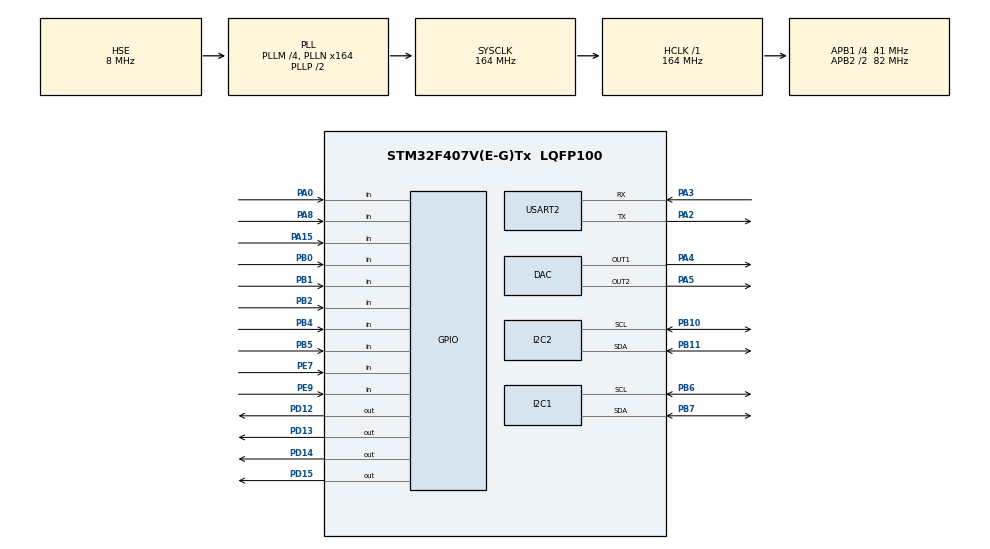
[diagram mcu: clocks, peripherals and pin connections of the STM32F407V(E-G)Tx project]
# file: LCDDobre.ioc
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Mcu.Family=STM32F4
Mcu.Name=STM32F407V(E-G)Tx
Mcu.Package=LQFP100
NVIC.I2C2_ER_IRQn=true\:0\:0\:false\:false\:true\:true
NVIC.I2C2_EV_IRQn=true\:0\:0\:false\:false\:true\:true
NVIC.PriorityGroup=NVIC_PRIORITYGROUP_4
NVIC.TIM4_IRQn=true\:0\:0\:false\:false\:true\:true
PA0-WKUP.GPIO_PuPd=GPIO_PULLDOWN
PA0-WKUP.Signal=GPIO_Input
PA15.GPIO_PuPd=GPIO_PULLDOWN
PA15.Signal=GPIO_Input
PA2.Mode=Asynchronous
PA2.Signal=USART2_TX
PA3.Mode=Asynchronous
PA3.Signal=USART2_RX
PA4.Signal=COMP_DAC1_group
PA5.Signal=COMP_DAC2_group
PA8.GPIO_PuPd=GPIO_PULLDOWN
PA8.Signal=GPIO_Input
PB0.GPIO_PuPd=GPIO_PULLDOWN
PB0.Signal=GPIO_Input
PB1.GPIO_PuPd=GPIO_PULLDOWN
PB1.Signal=GPIO_Input
PB10.Mode=I2C
PB10.Signal=I2C2_SCL
PB11.Mode=I2C
PB11.Signal=I2C2_SDA
PB2.GPIO_PuPd=GPIO_PULLDOWN
PB2.Signal=GPIO_Input
PB4.GPIO_PuPd=GPIO_PULLDOWN
PB4.Signal=GPIO_Input
PB5.GPIO_PuPd=GPIO_PULLDOWN
PB5.Signal=GPIO_Input
PB6.Mode=I2C
PB6.Signal=I2C1_SCL
PB7.Mode=I2C
PB7.Signal=I2C1_SDA
PD12.Signal=GPIO_Output
PD13.Signal=GPIO_Output
PD14.Signal=GPIO_Output
PD15.Signal=GPIO_Output
PE7.GPIO_PuPd=GPIO_PULLDOWN
PE7.Signal=GPIO_Input
PE9.GPIO_PuPd=GPIO_PULLDOWN
PE9.Signal=GPIO_Input
PH0-OSC_IN.Mode=HSE-External-Oscillator
PH0-OSC_IN.Signal=RCC_OSC_IN
PH1-OSC_OUT.Mode=HSE-External-Oscillator
PH1-OSC_OUT.Signal=RCC_OSC_OUT
ProjectManager.HeapSize=0x200
ProjectManager.StackSize=0x400
ProjectManager.TargetToolchain=SW4STM32
RCC.48MHZClocksFreq_Value=82000000
RCC.AHBFreq_Value=164000000
RCC.APB1CLKDivider=RCC_HCLK_DIV4
RCC.APB1Freq_Value=41000000
RCC.APB1TimFreq_Value=82000000
RCC.APB2CLKDivider=RCC_HCLK_DIV2
RCC.APB2Freq_Value=82000000
RCC.APB2TimFreq_Value=164000000
RCC.CortexFreq_Value=164000000
RCC.HCLKFreq_Value=164000000
RCC.HSE_VALUE=8000000
RCC.HSI_VALUE=16000000
RCC.LSE_VALUE=32768
RCC.PLLM=4
RCC.PLLN=164
RCC.PLLSourceVirtual=RCC_PLLSOURCE_HSE
RCC.SYSCLKFreq_VALUE=164000000
RCC.SYSCLKSource=RCC_SYSCLKSOURCE_PLLCLK
RCC.VCOOutputFreq_Value=328000000
SH.COMP_DAC1_group.0=DAC_OUT1,DAC_OUT1
SH.COMP_DAC2_group.0=DAC_OUT2,DAC_OUT2
TIM4.Period=59
TIM4.Prescaler=83
USART2.VirtualMode=VM_ASYNC
VP_TIM4_VS_ClockSourceINT.Mode=Internal
board=custom

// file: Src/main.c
/* USER CODE BEGIN Header */
/**
  ******************************************************************************
  * @file           : main.c
  * @brief          : Main program body
  ******************************************************************************
  ** This notice applies to any and all portions of this file
  * that are not between comment pairs USER CODE BEGIN and
  * USER CODE END. Other portions of this file, whether
  * inserted by the user or by software development tools
  * are owned by their respective copyright owners.
  *
  * COPYRIGHT(c) 2019 STMicroelectronics
  *
  * Redistribution and use in source and binary forms, with or without modification,
  * are permitted provided that the following conditions are met:
  *   1. Redistributions of source code must retain the above copyright notice,
  *      this list of conditions and the following disclaimer.
  *   2. Redistributions in binary form must reproduce the above copyright notice,
  *      this list of conditions and the following disclaimer in the documentation
  *      and/or other materials provided with the distribution.
  *   3. Neither the name of STMicroelectronics nor the names of its contributors
  *      may be used to endorse or promote products derived from this software
  *      without specific prior written permission.
  *
  * THIS SOFTWARE IS PROVIDED BY THE COPYRIGHT HOLDERS AND CONTRIBUTORS "AS IS"
  * AND ANY EXPRESS OR IMPLIED WARRANTIES, INCLUDING, BUT NOT LIMITED TO, THE
  * IMPLIED WARRANTIES OF MERCHANTABILITY AND FITNESS FOR A PARTICULAR PURPOSE ARE
  * DISCLAIMED. IN NO EVENT SHALL THE COPYRIGHT HOLDER OR CONTRIBUTORS BE LIABLE
  * FOR ANY DIRECT, INDIRECT, INCIDENTAL, SPECIAL, EXEMPLARY, OR CONSEQUENTIAL
  * DAMAGES (INCLUDING, BUT NOT LIMITED TO, PROCUREMENT OF SUBSTITUTE GOODS OR
  * SERVICES; LOSS OF USE, DATA, OR PROFITS; OR BUSINESS INTERRUPTION) HOWEVER
  * CAUSED AND ON ANY THEORY OF LIABILITY, WHETHER IN CONTRACT, STRICT LIABILITY,
  * OR TORT (INCLUDING NEGLIGENCE OR OTHERWISE) ARISING IN ANY WAY OUT OF THE USE
  * OF THIS SOFTWARE, EVEN IF ADVISED OF THE POSSIBILITY OF SUCH DAMAGE.
  *
  ******************************************************************************
  */
/* USER CODE END Header */

#include "main.h"

/* USER CODE BEGIN Includes */
#include "stm32f4xx_hal.h"
#include "ds3231.h"
#include "i2c-lcd.h"
/* USER CODE END Includes */

DAC_HandleTypeDef hdac;

I2C_HandleTypeDef hi2c1;
I2C_HandleTypeDef hi2c2;

TIM_HandleTypeDef htim4;

UART_HandleTypeDef huart2;

/* USER CODE BEGIN PV */
/* Private variables ---------------------------------------------------------*/

/* USER CODE END PV */

void SystemClock_Config(void);
static void MX_GPIO_Init(void);
static void MX_I2C1_Init(void);
static void MX_I2C2_Init(void);
static void MX_USART2_UART_Init(void);
static void MX_DAC_Init(void);
static void MX_TIM4_Init(void);
/* USER CODE BEGIN PFP */
/* Private function prototypes -----------------------------------------------*/

void HAL_GPIO_EXTI_Callback(uint16_t GPIO_Pin)
{

	HAL_GPIO_ReadPin(GPIOA, GPIO_PIN_0) == GPIO_PIN_SET;

	HAL_GPIO_WritePin(GPIOD,GPIO_PIN_12,SET);
   	  lcd_clear();
   	  int number=5;
   	  lcd_send_cmd(0x80);
   	  lcd_send_integer(number,2);
}

/* USER CODE END PFP */

int main(void)
{
  /* USER CODE BEGIN 1 */
	uint8_t str1[]="USART Transmit\r\n";
  /* USER CODE END 1 */

  /* MCU Configuration--------------------------------------------------------*/

  /* Reset of all peripherals, Initializes the Flash interface and the Systick. */
  HAL_Init();

  /* Configure the system clock */
  SystemClock_Config();

  /* Initialize all configured peripherals */
  MX_GPIO_Init();
  MX_I2C1_Init();
  MX_I2C2_Init();
  MX_USART2_UART_Init();
  MX_DAC_Init();
  MX_TIM4_Init();
  /* USER CODE BEGIN 2 */

  int trzy=5;
  int minuty=0;
   int dziala=0;
   int prescaler=83;
   volatile int realgodziny=0;
   volatile int realminuty=0;
   int flaga=0;
   int clearc=0;
   volatile int dupa=0;
   volatile int alarmhour=0;
   volatile int alarm_sound=1;

   volatile int date_day=1, date_month=1, date_year=0;
   volatile int alarmin=0;
  //day -> dzien tygodnia od 1-7, date -> dzien miesiaca
  day= 5, date = 30, month = 5, year = 19;
  DS3231_setDate(day, date, month, year);

  hour = 19, minute = 17, seconds = 10;
  DS3231_setTime(hour, minute, seconds);
  //hour = 0, minute = 1, seconds = 0;
  //DS3231_setTime(hour, minute, seconds);

  //hour = 21, minute = 44, seconds = 0;
  //DS3231_setAlarm_e(hour, minute, seconds);

  //HAL_UART_Transmit(&huart2,str1,16,0xFFFF);
  HAL_GPIO_WritePin(GPIOD, GPIO_PIN_13, 1);
  /* USER CODE END 2 */

  /* Infinite loop */
  /* USER CODE BEGIN WHILE */
  while (1)
  {
	 getTimeAndDate();
	 switch(flaga)
	 {

	 case 0:

		 	 	 HAL_GPIO_WritePin(GPIOD,GPIO_PIN_12,GPIO_PIN_RESET);
	 		 	 if(clearc==2)
	 		 	 {
	 		 		 lcd_clear();
	 		 	 }

	 		 	 clearc=1;
	 		 	 if(DS3231_Time.hours<10)
	 		 	 {
	 	 		 	 lcd_send_cmd (0x80);  // goto 1,1
	 	 		 	 lcd_send_integer(0,1);
	 	 		 	 lcd_send_cmd(0x81);
	 	 			 lcd_send_integer(DS3231_Time.hours,1);
	 		 	 }
	 		 	 if(DS3231_Time.hours>=10)
	 		 	 {
	 		 	 		 lcd_send_cmd (0x80);  // goto 1,1

	 		 	 		 lcd_send_integer(DS3231_Time.hours,2);
	 		 	 }

	 	 		lcd_send_cmd (0x82);
	 	 		lcd_send_string(":");

	 	 		if(DS3231_Time.minutes<10)
	 	 		{
	 	 			lcd_send_cmd (0x83);  // goto 1,1
	 	 			lcd_send_integer(0,1);
	 	 			lcd_send_cmd(0x84);
	 	 			lcd_send_integer(DS3231_Time.minutes,1);
	 	 		}

	 	 		if(DS3231_Time.minutes>=10)
	 	 		{
	 	 			lcd_send_cmd (0x83);  // goto 1,1
	 	 		    lcd_send_integer(DS3231_Time.minutes,2);
	 	 		}

	 	 		lcd_send_cmd (0x85);
	 	 		lcd_send_string(":");

	 	 		if(DS3231_Time.seconds<10)
	 	 		{
	 	 			lcd_send_cmd (0x86);
	 	 			lcd_send_integer(0,1);
	 	 			lcd_send_cmd(0x87);
	 	 			lcd_send_integer(DS3231_Time.seconds,1);
	 	 		}

	 	 		if(DS3231_Time.seconds>=10)
	 	 		{
	 	 				lcd_send_cmd (0x86);
	 	 				lcd_send_integer(DS3231_Time.seconds,2);
	 	 		}

	 	 		//////date////
	 	 		if(DS3231_Time.date<10)
	 	 		{
	 	 			lcd_send_cmd(0xc0);
	 	 			lcd_send_integer(0,1);
	 	 			lcd_send_cmd(0xc1);
	 	 			lcd_send_integer(DS3231_Time.date,1);
	 	 		}
	 	 		if(DS3231_Time.date>=10)
	 	 		{
	 	 			lcd_send_cmd(0xc0);
	 	 			lcd_send_integer(DS3231_Time.date,2);
	 	 		}
	 	 		lcd_send_cmd(0xc2);
	 	 		lcd_send_string(".");

	 	 		if(DS3231_Time.month<10)
	 	 		{
	 	 			lcd_send_cmd(0xc3);
	 	 			lcd_send_integer(0,1);
	 	 			lcd_send_cmd(0xc4);
	 	 			lcd_send_integer(DS3231_Time.month,1);
	 	 		}
	 	 		if(DS3231_Time.month>=10)
	 	 		{
	 	 			lcd_send_cmd(0xc3);
	 	 			lcd_send_integer(DS3231_Time.month,2);
	 	 		}

	 	 		lcd_send_cmd(0xc5);
	 	 		lcd_send_string(".");
	 	 		if(DS3231_Time.year<10)
	 	 		{
	 	 			 	lcd_send_cmd(0xc6);
	 	 			 	lcd_send_integer(0,1);
	 	 			 	lcd_send_cmd(0xc7);
	 	 			 	lcd_send_integer(DS3231_Time.year,1);
	 	 		}
	 	 		if(DS3231_Time.year>=10)
	 	 		{
	 	 			 	lcd_send_cmd(0xc6);
	 	 			 	lcd_send_integer(DS3231_Time.year,2);
	 	 		}

	 	 		// clearc=1;
	 	 		HAL_Delay(1000);
	 	  break;
	 	 case 1:
	 	 {
	 		HAL_GPIO_WritePin(GPIOD,GPIO_PIN_12,GPIO_PIN_SET);
	 		if(clearc==1)
	 		{
	 			lcd_clear();
	 		}
	 		clearc=2;

	 		lcd_send_cmd (0x80);
	 		lcd_send_string("Ustawianie czasu");
	 		if(realgodziny<10)
	 		{
	 			lcd_send_cmd(0xc0);
	 			lcd_send_integer(0,1);
	 			lcd_send_cmd(0xc1);
	 			lcd_send_integer(realgodziny,1);
	 		}
	 		if(realgodziny>=10)
	 		{
	 			lcd_send_cmd(0xc0);
	 			lcd_send_integer(realgodziny,2);
	 		}

	 		lcd_send_cmd (0xc2);
	 		lcd_send_string(":");
	 		if(dupa<10)
	 		{
	 			lcd_send_cmd(0xc3);
	 			lcd_send_integer(0,1);
	 			lcd_send_cmd(0xc4);
	 			lcd_send_integer(dupa,1);
	 		}
	 		if(dupa>=10)
	 		{
	 			lcd_send_cmd(0xc3);
	 			lcd_send_integer(dupa,2);
	 		}

	 		HAL_Delay(1000);

	 		if(HAL_GPIO_ReadPin(GPIOB, GPIO_PIN_2) == 1)
	 		{
	 				flaga=0;
	 		}
	 		if(HAL_GPIO_ReadPin(GPIOE, GPIO_PIN_9) == 1)
	 		{
	 			 	flaga=3;
	 		}
	 		if(HAL_GPIO_ReadPin(GPIOB, GPIO_PIN_4) == 1)
	 		{
	 				realgodziny++;
	 		}
	 		if(HAL_GPIO_ReadPin(GPIOA, GPIO_PIN_15) == 1)
	 		{
	 				dupa++;
	 		}
	 		if(realgodziny==24)
	 		{
	 				lcd_clear();
	 				realgodziny=0;
	 		}
	 		if(dupa==60)
	 		{
	 				lcd_clear();
	 				dupa=0;
	 		}
	 		if(HAL_GPIO_ReadPin(GPIOA, GPIO_PIN_8) == 1)
	 		{
	 				 DS3231_setTime(realgodziny, dupa, 0);
	 				 realgodziny=0;
	 				 dupa=0;
	 				 flaga=0;
	 		}
	 		break;

	 	 }
	 	case 2:
	 	{
	 			 if(clearc==1)
	 			 {
	 				lcd_clear();
	 			 }
	 			clearc=2;

	 			lcd_send_cmd (0x80);
	 			lcd_send_string(" Budzik");
	 			if(alarmhour<10)
	 			{
	 				lcd_send_cmd(0xc0);
	 				lcd_send_integer(0,1);
	 				lcd_send_cmd(0xc1);
	 				lcd_send_integer(alarmhour,1);
	 			}
	 			if(alarmhour>=10)
	 			{
	 				lcd_send_cmd(0xc0);
	 				lcd_send_integer(alarmhour,2);
	 			}

	 			lcd_send_cmd (0xc2);
	 			lcd_send_string(":");
	 			if(alarmin<10)
	 			{
	 				lcd_send_cmd(0xc3);
	 				lcd_send_integer(0,1);
	 				lcd_send_cmd(0xc4);
	 				lcd_send_integer(alarmin,1);
	 			}
	 			if(alarmin>=10)
	 			{
	 				lcd_send_cmd(0xc3);
	 				lcd_send_integer(alarmin,2);
	 			}

	 			lcd_send_cmd (0xc5);
	 			lcd_send_string("m");
	 			lcd_send_cmd (0xc6);
	 			lcd_send_string("u");
	 			lcd_send_cmd (0xc7);
	 			lcd_send_string("z");
	 			lcd_send_cmd (0xc8);
	 			lcd_send_string(":");
	 			lcd_send_cmd (0xc9);
	 			lcd_send_integer(alarm_sound,1);

	 			HAL_Delay(1000);

	 			if(HAL_GPIO_ReadPin(GPIOB, GPIO_PIN_4) == 1)
	 			{
	 				alarmhour++;
	 				if(alarmhour>23)//dodalem do zerowania
	 					alarmhour=0;//dodalem do zerowania
	 			}
	 			if(HAL_GPIO_ReadPin(GPIOA, GPIO_PIN_15) == 1)
	 			{
	 				alarmin++;
	 				if(alarmin>59)//dodalem do zerowania
	 					alarmin=0;//dodalem do zerowania
	 			}
	 			if(HAL_GPIO_ReadPin(GPIOE, GPIO_PIN_7) == 1)
	 			{
	 				 alarm_sound++;
	 				 if(alarm_sound>3)
	 					 alarm_sound=1;
	 			}

	 			if(HAL_GPIO_ReadPin(GPIOA, GPIO_PIN_8) == 1)
	 			{
	 				DS3231_setAlarm_e(alarmhour, alarmin, 0, alarm_sound);
	 				flaga=0;
	 			}

	 			if(HAL_GPIO_ReadPin(GPIOB, GPIO_PIN_2) == 1)
	 			{
	 				flaga=0;
	 			}

	 			if(HAL_GPIO_ReadPin(GPIOE, GPIO_PIN_9) == 1)
	 			{
	 				lcd_clear();
	 				 flaga=3;
	 			}
	 			break;

	 }
	 //ustawianie daty
	 	case 3: //gpio e9
	 	{
	 		 			 if(clearc==1)
	 		 			 {
	 		 				lcd_clear();
	 		 			 }
	 		 			clearc=2;

	 		 			lcd_send_cmd (0x80);
	 		 			lcd_send_string(" Ustawianie daty");
	 		 			if(date_day<10)
	 		 			{
	 		 				lcd_send_cmd(0xc0);
	 		 				lcd_send_integer(0,1);
	 		 				lcd_send_cmd(0xc1);
	 		 				lcd_send_integer(date_day,1);
	 		 			}
	 		 			if(date_day>=10)
	 		 			{
	 		 				lcd_send_cmd(0xc0);
	 		 				lcd_send_integer(date_day,2);
	 		 			}

	 		 			lcd_send_cmd (0xc2);
	 		 			lcd_send_string(".");
	 		 			if(date_month<10)
	 		 			{
	 		 				lcd_send_cmd(0xc3);
	 		 				lcd_send_integer(0,1);
	 		 				lcd_send_cmd(0xc4);
	 		 				lcd_send_integer(date_month,1);
	 		 			}
	 		 			if(date_month>=10)
	 		 			{
	 		 				lcd_send_cmd(0xc3);
	 		 				lcd_send_integer(date_month,2);
	 		 			}
	 		 			lcd_send_cmd (0xc5);
	 		 			lcd_send_string(".");
	 		 			if(date_year<10)
	 		 			{
	 		 				lcd_send_cmd(0xc6);
	 		 				lcd_send_integer(0,1);
	 		 				lcd_send_cmd(0xc7);
	 		 				lcd_send_integer(date_year,1);
	 		 			}
	 		 			if(date_year>=10)
	 		 			{
	 		 				lcd_send_cmd(0xc6);
	 		 				lcd_send_integer(date_year,2);
	 		 			}

	 		 			HAL_Delay(1000);

	 		 			if(HAL_GPIO_ReadPin(GPIOB, GPIO_PIN_4) == 1)
	 		 			{
	 		 				date_day++;
	 		 				if(date_day>31)//dodalem do zerowania
	 		 					date_day=1;//dodalem do zerowania
	 		 			}
	 		 			if(HAL_GPIO_ReadPin(GPIOA, GPIO_PIN_15) == 1)
	 		 			{
	 		 				date_month++;
	 		 				if(date_month>12)//dodalem do zerowania
	 		 					date_month=1;//dodalem do zerowania
	 		 			}
	 		 			if(HAL_GPIO_ReadPin(GPIOE, GPIO_PIN_7) == 1)
	 		 			{
	 		 				 date_year++;
	 		 				 if(date_year>99)
	 		 					 date_year=0;
	 		 			}

	 		 			if(HAL_GPIO_ReadPin(GPIOA, GPIO_PIN_8) == 1)
	 		 			{
	 		 				DS3231_setDate(2,date_day, date_month, date_year);
	 		 				flaga=0;
	 		 			}

	 		 			if(HAL_GPIO_ReadPin(GPIOB, GPIO_PIN_2) == 1)
	 		 			{
	 		 				flaga=0;
	 		 			}

	 		 			break;

	 	}

	 }

	 if(HAL_GPIO_ReadPin(GPIOB, GPIO_PIN_5) == 1)
	 {
		 	 realgodziny=DS3231_Time.hours;
		 	 dupa=DS3231_Time.minutes;
		 	 lcd_clear();
			 flaga=1;
	 }

	 if(HAL_GPIO_ReadPin(GPIOB, GPIO_PIN_1) == 1)
	 {
		 	alarmhour=DS3231_Time.hours; //zeby dlugo nie ustawiac alarmu
		 	alarmin=DS3231_Time.minutes;//zeby dlugo nie ustawiac alarmu
		 	lcd_clear();
	 		flaga=2;
	 }

    /* USER CODE END WHILE */

  }
}

void SystemClock_Config(void)
{
  RCC_OscInitTypeDef RCC_OscInitStruct = {0};
  RCC_ClkInitTypeDef RCC_ClkInitStruct = {0};

  /**Configure the main internal regulator output voltage
  */
  __HAL_RCC_PWR_CLK_ENABLE();
  __HAL_PWR_VOLTAGESCALING_CONFIG(PWR_REGULATOR_VOLTAGE_SCALE1);
  /**Initializes the CPU, AHB and APB busses clocks
  */
  RCC_OscInitStruct.OscillatorType = RCC_OSCILLATORTYPE_HSE;
  RCC_OscInitStruct.HSEState = RCC_HSE_ON;
  RCC_OscInitStruct.PLL.PLLState = RCC_PLL_ON;
  RCC_OscInitStruct.PLL.PLLSource = RCC_PLLSOURCE_HSE;
  RCC_OscInitStruct.PLL.PLLM = 4;
  RCC_OscInitStruct.PLL.PLLN = 164;
  RCC_OscInitStruct.PLL.PLLP = RCC_PLLP_DIV2;
  RCC_OscInitStruct.PLL.PLLQ = 4;
  if (HAL_RCC_OscConfig(&RCC_OscInitStruct) != HAL_OK)
  {
    Error_Handler();
  }
  /**Initializes the CPU, AHB and APB busses clocks
  */
  RCC_ClkInitStruct.ClockType = RCC_CLOCKTYPE_HCLK|RCC_CLOCKTYPE_SYSCLK
                              |RCC_CLOCKTYPE_PCLK1|RCC_CLOCKTYPE_PCLK2;
  RCC_ClkInitStruct.SYSCLKSource = RCC_SYSCLKSOURCE_PLLCLK;
  RCC_ClkInitStruct.AHBCLKDivider = RCC_SYSCLK_DIV1;
  RCC_ClkInitStruct.APB1CLKDivider = RCC_HCLK_DIV4;
  RCC_ClkInitStruct.APB2CLKDivider = RCC_HCLK_DIV2;

  if (HAL_RCC_ClockConfig(&RCC_ClkInitStruct, FLASH_LATENCY_5) != HAL_OK)
  {
    Error_Handler();
  }
}

static void MX_DAC_Init(void)
{

  DAC_ChannelConfTypeDef sConfig = {0};

  /**DAC Initialization
  */
  hdac.Instance = DAC;
  if (HAL_DAC_Init(&hdac) != HAL_OK)
  {
    Error_Handler();
  }
  /**DAC channel OUT1 config
  */
  sConfig.DAC_Trigger = DAC_TRIGGER_NONE;
  sConfig.DAC_OutputBuffer = DAC_OUTPUTBUFFER_ENABLE;
  if (HAL_DAC_ConfigChannel(&hdac, &sConfig, DAC_CHANNEL_1) != HAL_OK)
  {
    Error_Handler();
  }
  /**DAC channel OUT2 config
  */
  if (HAL_DAC_ConfigChannel(&hdac, &sConfig, DAC_CHANNEL_2) != HAL_OK)
  {
    Error_Handler();
  }

}

static void MX_I2C1_Init(void)
{

  hi2c1.Instance = I2C1;
  hi2c1.Init.ClockSpeed = 100000;
  hi2c1.Init.DutyCycle = I2C_DUTYCYCLE_2;
  hi2c1.Init.OwnAddress1 = 0;
  hi2c1.Init.AddressingMode = I2C_ADDRESSINGMODE_7BIT;
  hi2c1.Init.DualAddressMode = I2C_DUALADDRESS_DISABLE;
  hi2c1.Init.OwnAddress2 = 0;
  hi2c1.Init.GeneralCallMode = I2C_GENERALCALL_DISABLE;
  hi2c1.Init.NoStretchMode = I2C_NOSTRETCH_DISABLE;
  if (HAL_I2C_Init(&hi2c1) != HAL_OK)
  {
    Error_Handler();
  }

}

static void MX_I2C2_Init(void)
{

  hi2c2.Instance = I2C2;
  hi2c2.Init.ClockSpeed = 100000;
  hi2c2.Init.DutyCycle = I2C_DUTYCYCLE_2;
  hi2c2.Init.OwnAddress1 = 0;
  hi2c2.Init.AddressingMode = I2C_ADDRESSINGMODE_7BIT;
  hi2c2.Init.DualAddressMode = I2C_DUALADDRESS_DISABLE;
  hi2c2.Init.OwnAddress2 = 0;
  hi2c2.Init.GeneralCallMode = I2C_GENERALCALL_DISABLE;
  hi2c2.Init.NoStretchMode = I2C_NOSTRETCH_DISABLE;
  if (HAL_I2C_Init(&hi2c2) != HAL_OK)
  {
    Error_Handler();
  }

}

static void MX_TIM4_Init(void)
{

  TIM_ClockConfigTypeDef sClockSourceConfig = {0};
  TIM_MasterConfigTypeDef sMasterConfig = {0};

  htim4.Instance = TIM4;
  htim4.Init.Prescaler = 45;
  htim4.Init.CounterMode = TIM_COUNTERMODE_UP;
  htim4.Init.Period = 59;
  htim4.Init.ClockDivision = TIM_CLOCKDIVISION_DIV1;
  if (HAL_TIM_Base_Init(&htim4) != HAL_OK)
  {
    Error_Handler();
  }
  sClockSourceConfig.ClockSource = TIM_CLOCKSOURCE_INTERNAL;
  if (HAL_TIM_ConfigClockSource(&htim4, &sClockSourceConfig) != HAL_OK)
  {
    Error_Handler();
  }
  sMasterConfig.MasterOutputTrigger = TIM_TRGO_RESET;
  sMasterConfig.MasterSlaveMode = TIM_MASTERSLAVEMODE_DISABLE;
  if (HAL_TIMEx_MasterConfigSynchronization(&htim4, &sMasterConfig) != HAL_OK)
  {
    Error_Handler();
  }

}

static void MX_USART2_UART_Init(void)
{

  huart2.Instance = USART2;
  huart2.Init.BaudRate = 115200;
  huart2.Init.WordLength = UART_WORDLENGTH_8B;
  huart2.Init.StopBits = UART_STOPBITS_1;
  huart2.Init.Parity = UART_PARITY_NONE;
  huart2.Init.Mode = UART_MODE_TX_RX;
  huart2.Init.HwFlowCtl = UART_HWCONTROL_NONE;
  huart2.Init.OverSampling = UART_OVERSAMPLING_16;
  if (HAL_UART_Init(&huart2) != HAL_OK)
  {
    Error_Handler();
  }

}

static void MX_GPIO_Init(void)
{
  GPIO_InitTypeDef GPIO_InitStruct = {0};

  /* GPIO Ports Clock Enable */
  __HAL_RCC_GPIOH_CLK_ENABLE();
  __HAL_RCC_GPIOA_CLK_ENABLE();
  __HAL_RCC_GPIOB_CLK_ENABLE();
  __HAL_RCC_GPIOE_CLK_ENABLE();
  __HAL_RCC_GPIOD_CLK_ENABLE();

  /*Configure GPIO pin Output Level */
  HAL_GPIO_WritePin(GPIOD, GPIO_PIN_12|GPIO_PIN_13|GPIO_PIN_14|GPIO_PIN_15, GPIO_PIN_RESET);

  /*Configure GPIO pins : PA0 PA8 PA15 */
  GPIO_InitStruct.Pin = GPIO_PIN_0|GPIO_PIN_8|GPIO_PIN_15;
  GPIO_InitStruct.Mode = GPIO_MODE_INPUT;
  GPIO_InitStruct.Pull = GPIO_PULLDOWN;
  HAL_GPIO_Init(GPIOA, &GPIO_InitStruct);

  /*Configure GPIO pins : PB0 PB1 PB2 PB4
                           PB5 */
  GPIO_InitStruct.Pin = GPIO_PIN_0|GPIO_PIN_1|GPIO_PIN_2|GPIO_PIN_4
                          |GPIO_PIN_5;
  GPIO_InitStruct.Mode = GPIO_MODE_INPUT;
  GPIO_InitStruct.Pull = GPIO_PULLDOWN;
  HAL_GPIO_Init(GPIOB, &GPIO_InitStruct);

  /*Configure GPIO pins : PE7 PE9 */
  GPIO_InitStruct.Pin = GPIO_PIN_7|GPIO_PIN_9;
  GPIO_InitStruct.Mode = GPIO_MODE_INPUT;
  GPIO_InitStruct.Pull = GPIO_PULLDOWN;
  HAL_GPIO_Init(GPIOE, &GPIO_InitStruct);

  /*Configure GPIO pins : PD12 PD13 PD14 PD15 */
  GPIO_InitStruct.Pin = GPIO_PIN_12|GPIO_PIN_13|GPIO_PIN_14|GPIO_PIN_15;
  GPIO_InitStruct.Mode = GPIO_MODE_OUTPUT_PP;
  GPIO_InitStruct.Pull = GPIO_NOPULL;
  GPIO_InitStruct.Speed = GPIO_SPEED_FREQ_LOW;
  HAL_GPIO_Init(GPIOD, &GPIO_InitStruct);

}

void Error_Handler(void)
{
  while(1)
  {
  }
}

/************************ (C) COPYRIGHT STMicroelectronics *****END OF FILE****/
